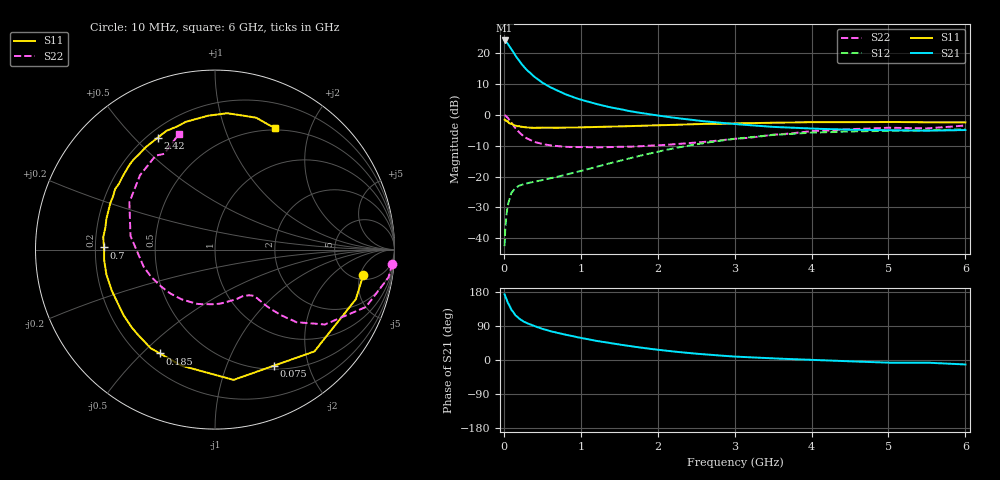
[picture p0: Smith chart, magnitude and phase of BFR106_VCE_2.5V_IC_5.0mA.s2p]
! Infineon Technologies  Discrete & RF Semiconductors
! BFR106
! VCE =  2.5 V,  IC =  5.0 mA
! Common Emitter S-Parameters:  Nov 2015
# GHz  S  MA  R  50
!  f  S11  S21  S12  S22
! GHz  MAG  ANG  MAG  ANG  MAG  ANG  MAG  ANG
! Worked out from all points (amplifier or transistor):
!   210 points, 10 MHz to 6 GHz, reference 50 ohm
!   highest |S21| = 24.2 dB at 10 MHz (marker M1)
!   |S21| within 3 dB of that: start of sweep to 104.3 MHz
!   unconditionally stable (mu >= 1): 618.4 MHz to 2.13 GHz; 4.264 GHz to end of sweep
!   at 185 MHz: K = 0.39, MSG = 20.6 dB, |S12| = -23.2 dB
!   at 1.52 GHz: K = 1.13, MAG = 6.1 dB, |S12| = -14.8 dB
!   at 6 GHz: K = 1.02, MAG = -1.1 dB, |S12| = -4.7 dB
!   S11 on the Smith chart (normalised r, x): 10 MHz: 5.93, -5.62; 75 MHz: 0.54, -1.49; 185 MHz: 0.28, -0.57; 700 MHz: 0.24, +0.01; 2.42 GHz: 0.24, +0.58; 6 GHz: 0.48, +1.51
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0.01  0.838 -9.7  16.15 173.4  0.0074 87.0  0.9909 -4.6
0.02  0.8321 -19.4  15.91 168.2  0.0148 80.9  0.9791 -9.1
0.05  0.7928 -45.7  14.42 151.7  0.0335 66.7  0.8998 -20.8
0.075  0.7253 -63.1  12.86 142.9  0.0437 57.8  0.8145 -26.9
0.1  0.7332 -81.9  11.67 132.1  0.0545 52.4  0.7405 -34.3
0.15  0.6729 -106.2  9.192 118.0  0.0649 43.3  0.608 -41.7
0.185  0.655 -118.0  8 112.2  0.0692 40.3  0.5469 -43.7
0.2  0.656 -123.1  7.52 109.2  0.0711 39.1  0.5209 -44.7
0.24  0.6389 -133.1  6.492 103.7  0.0738 37.1  0.4679 -46.3
0.26  0.6345 -137.4  6.061 101.1  0.0751 36.6  0.4468 -47.0
0.3  0.627 -144.3  5.333 97.0  0.0775 36.8  0.4154 -47.9
0.4  0.6188 -157.9  4.122 89.0  0.0824 37.4  0.3633 -48.9
0.5  0.6207 -167.1  3.337 82.2  0.0874 39.5  0.3359 -50.1
0.7  0.618 178.9  2.46 71.3  0.0992 45.2  0.3112 -55.3
1.02  0.6293 163.3  1.74 57.6  0.1247 52.7  0.3004 -65.9
1.4  0.6504 148.8  1.315 44.2  0.1662 57.9  0.3019 -82.8
2.02  0.6786 128.8  0.969 26.7  0.256 56.6  0.322 -114.7
2.42  0.6996 117.2  0.838 18.0  0.3204 51.9  0.3498 -136.7
3.1  0.7318 100.9  0.695 8.2  0.4209 39.9  0.4166 -171.5
4.1  0.762 83.5  0.594 -0.4  0.5191 20.9  0.5501 147.8
5.1  0.7669 71.6  0.562 -7.0  0.5536 5.7  0.6159 121.4
6  0.7556 63.6  0.568 -11.8  0.5852 -4.8  0.6734 107.5
